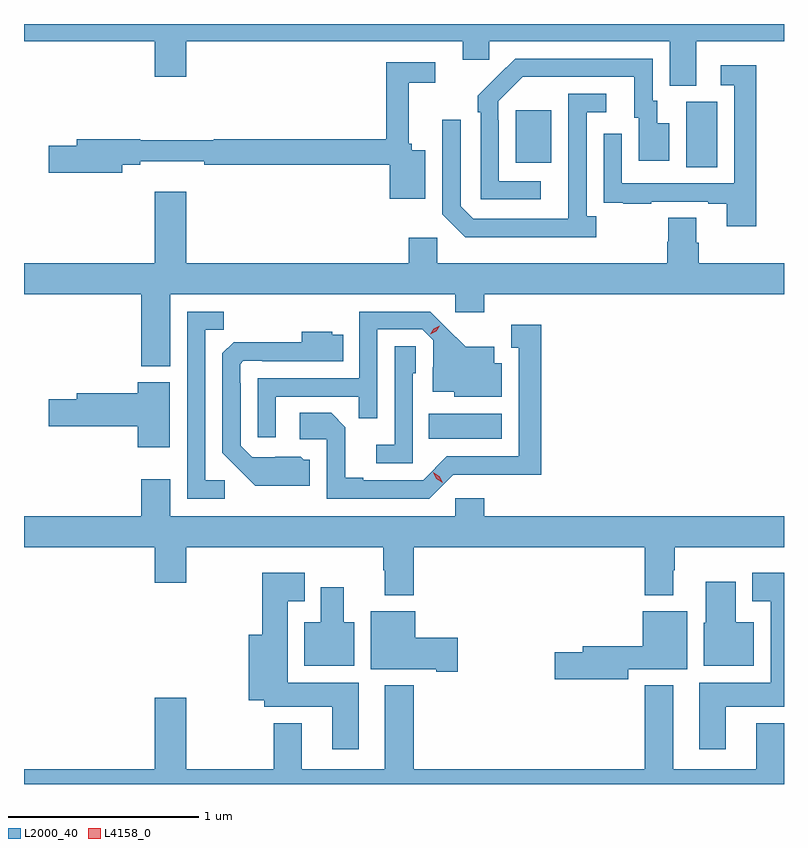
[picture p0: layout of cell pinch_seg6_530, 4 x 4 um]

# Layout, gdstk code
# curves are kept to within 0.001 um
import gdstk
lib = gdstk.Library(unit=1e-6, precision=1e-09)
def R(c, l, rs):  # rectangles x0, y0, x1, y1
    for r in rs: c.add(gdstk.rectangle(r[:2], r[2:], *l))
def P(c, l, *ps):  # polygons
    for p in ps: c.add(gdstk.Polygon(p, *l))
L2000_40 = (2000, 40)
L4158_0 = (4158, 0)

pinch_seg6_530 = lib.new_cell('pinch_seg6_530')
R(pinch_seg6_530, L2000_40, [(765.85,934.586,766.234,934.72), (767.204,936.016,767.368,936.36), (766.307,936.041,766.495,936.316)])
P(pinch_seg6_530, L2000_40, [(767.257,936.68),(767.719,936.68),(767.719,936.77),(763.719,936.77),(763.719,936.68),(764.408,936.68),(764.408,936.492),(764.572,936.492),(764.572,936.68),(766.028,936.68),(766.028,936.582),(766.167,936.582),(766.167,936.68),(767.117,936.68),(767.117,936.445),(767.257,936.445)],
  [(766.438,935.943),(766.218,935.943),(766.218,936.263),(766.215,936.263),(766.215,936.363),(766.344,936.492),(766.931,936.492),(766.931,936.276),(766.955,936.276),(766.955,936.051),(767.116,936.051),(767.116,936.247),(767.053,936.247),(767.053,936.366),(767.028,936.366),(767.028,936.588),(766.304,936.588),(766.107,936.393),(766.107,936.305),(766.122,936.305),(766.122,935.847),(766.438,935.847)],
  [(765.832,936.106),(765.76,936.106),(765.76,936.141),(765.743,936.141),(765.743,936.462),(765.883,936.462),(765.883,936.57),(765.625,936.57),(765.625,936.164),(764.717,936.164),(764.717,936.157),(764.332,936.157),(764.332,936.164),(763.997,936.164),(763.997,936.128),(763.848,936.128),(763.848,935.986),(764.236,935.986),(764.236,936.028),(764.332,936.028),(764.332,936.047),(764.668,936.047),(764.668,936.028),(765.644,936.028),(765.644,935.849),(765.832,935.849)],
  [(767.573,936.553),(767.385,936.553),(767.385,936.447),(767.457,936.447),(767.457,935.931),(766.866,935.931),(766.866,936.193),(766.77,936.193),(766.77,935.938),(766.771,935.938),(766.771,935.829),(766.873,935.829),(766.873,935.823),(767.021,935.823),(767.021,935.835),(767.321,935.835),(767.321,935.823),(767.417,935.823),(767.417,935.706),(767.573,935.706)],
  [(766.732,935.758),(766.68,935.758),(766.68,936.306),(766.783,936.306),(766.783,936.402),(766.584,936.402),(766.583,935.745),(766.083,935.745),(766.017,935.811),(766.017,936.265),(765.921,936.265),(765.921,935.769),(766.042,935.648),(766.732,935.648)],
  [(764.488,935.348),(765.99,935.348),(765.99,935.253),(766.142,935.253),(766.142,935.348),(767.719,935.348),(767.719,935.512),(767.27,935.512),(767.27,935.618),(767.257,935.618),(767.257,935.75),(767.11,935.75),(767.11,935.625),(767.105,935.625),(767.105,935.512),(765.894,935.512),(765.894,935.644),(765.743,935.644),(765.743,935.512),(764.572,935.512),(764.572,935.887),(764.408,935.887),(764.408,935.512),(763.719,935.512),(763.719,935.348),(764.336,935.348),(764.336,934.97),(764.488,934.97)],
  [(765.045,934.809),(765.481,934.809),(765.481,934.696),(765.579,934.696),(765.579,935.163),(765.816,935.163),(765.873,935.106),(765.873,934.964),(765.869,934.964),(765.869,934.835),(765.984,934.835),(765.984,934.808),(766.234,934.808),(766.234,934.984),(766.195,934.984),(766.195,935.071),(766.043,935.071),(765.856,935.256),(765.483,935.256),(765.483,934.905),(764.949,934.905),(764.949,934.596),(765.045,934.596)],
  [(764.776,934.368),(764.673,934.368),(764.673,935.161),(764.769,935.161),(764.769,935.256),(764.577,935.256),(764.577,934.272),(764.776,934.272)],
  [(765.978,934.398),(766.441,934.397),(766.441,935.188),(766.283,935.188),(766.283,935.067),(766.322,935.067),(766.322,934.494),(765.945,934.494),(765.819,934.368),(765.505,934.368),(765.505,934.381),(765.411,934.381),(765.411,934.648),(765.335,934.724),(765.171,934.724),(765.171,934.584),(765.312,934.584),(765.312,934.272),(765.852,934.272)],
  [(765.223,934.476),(765.192,934.476),(765.176,934.492),(764.919,934.491),(764.859,934.551),(764.859,934.88),(764.856,934.88),(764.856,934.98),(764.874,934.998),(764.974,934.998),(764.974,934.995),(765.398,934.995),(765.398,935.134),(765.342,935.134),(765.342,935.149),(765.181,935.149),(765.181,935.096),(764.822,935.095),(764.763,935.036),(764.763,934.514),(764.935,934.34),(765.223,934.34)],
  [(765.765,934.932),(765.78,934.932),(765.78,935.075),(765.669,935.075),(765.669,934.555),(765.573,934.555),(765.573,934.458),(765.765,934.458)],
  [(764.485,934.885),(764.318,934.885),(764.318,934.826),(763.997,934.826),(763.997,934.796),(763.848,934.796),(763.848,934.654),(764.318,934.654),(764.318,934.542),(764.485,934.542)],
  [(765.77,934.016),(766.985,934.016),(766.985,933.764),(767.137,933.764),(767.137,933.896),(767.145,933.896),(767.145,934.016),(767.719,934.016),(767.719,934.18),(766.142,934.18),(766.142,934.273),(765.99,934.273),(765.99,934.18),(764.488,934.18),(764.488,934.375),(764.336,934.375),(764.336,934.18),(763.719,934.18),(763.719,934.016),(764.408,934.016),(764.408,933.828),(764.572,933.828),(764.572,934.016),(765.61,934.016),(765.61,933.896),(765.617,933.896),(765.617,933.764),(765.77,933.764)],
  [(767.413,933.176),(767.719,933.176),(767.719,933.883),(767.553,933.883),(767.553,933.731),(767.648,933.731),(767.648,933.304),(767.273,933.304),(767.273,932.952),(767.413,932.952)],
  [(765.481,933.304),(765.106,933.304),(765.106,933.731),(765.196,933.731),(765.196,933.883),(764.972,933.883),(764.972,933.556),(764.903,933.556),(764.903,933.212),(764.984,933.212),(764.984,933.176),(765.341,933.176),(765.341,932.952),(765.481,932.952)],
  [(767.56,933.622),(767.464,933.622),(767.464,933.835),(767.306,933.835),(767.306,933.618),(767.297,933.618),(767.297,933.392),(767.56,933.392)],
  [(765.457,933.622),(765.403,933.622),(765.403,933.805),(765.281,933.805),(765.281,933.622),(765.194,933.622),(765.194,933.392),(765.457,933.392)],
  [(766.9,933.374),(767.209,933.374),(767.209,933.679),(766.976,933.679),(766.976,933.494),(766.661,933.494),(766.661,933.464),(766.512,933.464),(766.512,933.322),(766.9,933.322)],
  [(766.003,933.54),(765.778,933.54),(765.778,933.679),(765.545,933.679),(765.545,933.374),(765.89,933.374),(765.89,933.362),(766.003,933.362)],
  [(767.719,933.091),(767.573,933.091),(767.573,932.848),(767.137,932.848),(767.137,933.289),(766.985,933.289),(766.985,932.848),(765.77,932.848),(765.77,933.289),(765.617,933.289),(765.617,932.848),(765.181,932.848),(765.181,933.091),(765.034,933.091),(765.034,932.848),(764.572,932.848),(764.572,933.223),(764.408,933.223),(764.408,932.848),(763.719,932.848),(763.719,932.77),(767.719,932.77)])
P(pinch_seg6_530, L4158_0, [(765.858,935.138),(765.858,935.138),(765.875,935.167),(765.906,935.182),(765.906,935.182),(765.906,935.182),(765.889,935.152),(765.858,935.138)],
  [(765.922,934.356),(765.89,934.376),(765.874,934.409),(765.874,934.41),(765.874,934.41),(765.905,934.39),(765.922,934.356),(765.922,934.356)])

lib.write_gds('pinch_seg6_530.gds')
